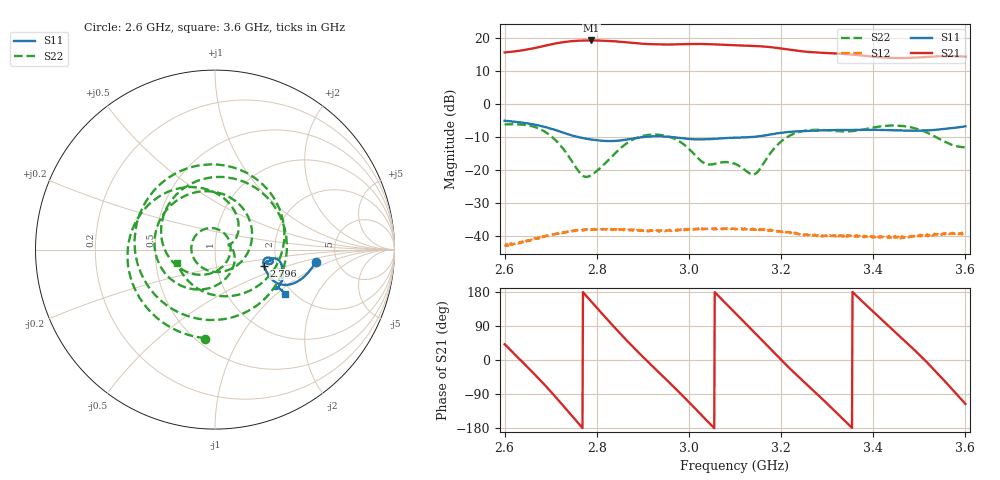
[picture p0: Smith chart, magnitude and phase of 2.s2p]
#  HZ  S  DB  R  50.00
! Rohde & Schwarz Vector Network Analyzer
! Rohde-Schwarz,ZNB8-2Port,1311601042101540,3.40
! Created: UTC 6/28/2024, 7:39:39 AM
! freq[Hz]  db:S11  ang:S11  db:S21  ang:S21  db:S12  ang:S12  db:S22  ang:S22
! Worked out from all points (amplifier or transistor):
!   1001 points, 2.6 GHz to 3.6 GHz, reference 50 ohm
!   highest |S21| = 19.4 dB at 2.788 GHz (marker M1)
!   |S21| within 3 dB of that: 2.638 GHz to 3.228 GHz (589.9 MHz wide, 20.1 % of centre)
!   unconditionally stable (mu >= 1): start of sweep to end of sweep
!   at 2.766 GHz: K = 3.98, MAG = 19.8 dB, |S12| = -38.2 dB
!   at 3.1 GHz: K = 4.52, MAG = 18.4 dB, |S12| = -37.9 dB
!   at 3.6 GHz: K = 6.39, MAG = 15.8 dB, |S12| = -39.2 dB
!   S11 on the Smith chart (normalised r, x): 2.6 GHz: 3.44, -0.69; 2.796 GHz: 1.71, -0.34; 3.6 GHz: 1.82, -1.15
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2.6e9  -4.97 -7.0  15.72 41.4  -42.53 39.3  -6.05 -96.2
2.655e9  -5.89 -18.9  16.77 -25.2  -41.35 -28.5  -6.46 167.5
2.705e9  -7.56 -27.7  18.29 -89.9  -39.40 -92.1  -10.12 87.8
2.733e9  -8.85 -27.8  18.96 -129.0  -38.73 -131.9  -14.54 45.4
2.767e9  -10.13 -23.2  19.32 -176.6  -38.25 -179.1  -21.29 19.6
2.788e9  -10.66 -19.7  19.36 154.3  -37.88 153.2  -21.47 15.0
2.796e9  -10.79 -18.5  19.35 143.4  -37.96 142.1  -20.64 6.4
2.849e9  -10.96 -10.3  19.00 72.3  -37.97 71.8  -13.63 -93.2
2.891e9  -10.10 -8.7  18.46 19.4  -38.24 19.5  -9.92 -164.0
2.934e9  -9.66 -12.1  18.14 -31.9  -38.17 -32.2  -9.20 128.7
2.97e9  -10.02 -14.9  18.18 -74.4  -38.14 -74.7  -10.51 70.6
3.001e9  -10.49 -14.9  18.29 -112.3  -37.90 -112.4  -13.62 12.8
3.05e9  -10.49 -12.6  18.22 -173.7  -37.60 -172.5  -18.21 -126.1
3.1e9  -10.09 -11.2  17.90 124.8  -37.89 126.3  -18.03 109.9
3.14e9  -9.85 -9.0  17.70 75.2  -37.90 77.4  -21.24 -13.0
3.186e9  -8.91 -9.2  17.19 17.7  -38.24 20.9  -13.19 -151.2
3.267e9  -8.00 -18.9  15.80 -77.2  -39.68 -71.4  -7.76 74.1
3.349e9  -7.74 -25.0  15.16 -173.2  -39.85 -164.1  -8.18 -79.2
3.434e9  -7.83 -32.4  14.10 89.0  -40.45 99.3  -6.45 125.6
3.519e9  -7.87 -31.5  14.40 -9.2  -39.97 0.6  -8.71 -6.1
3.563e9  -7.31 -31.3  14.61 -66.0  -38.90 -55.9  -11.82 -87.9
3.6e9  -6.66 -32.4  14.45 -115.9  -39.22 -105.0  -13.01 -160.3
